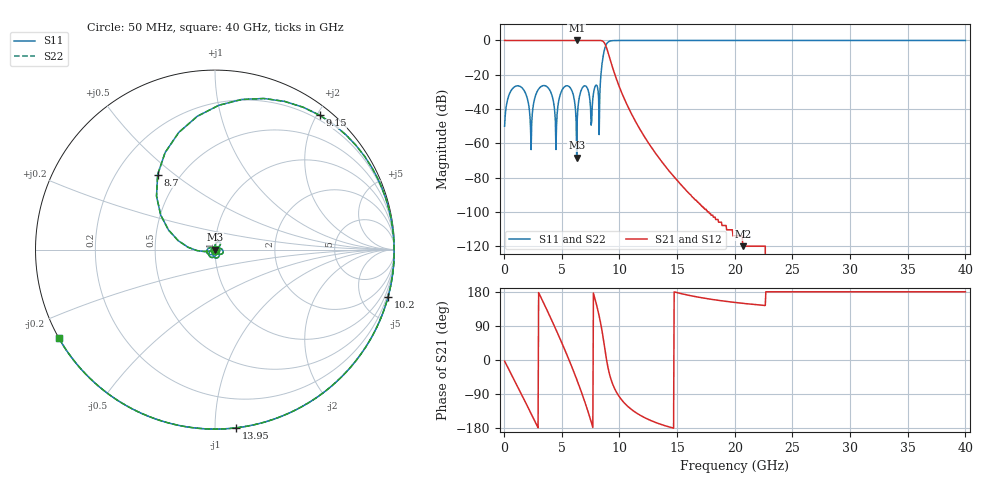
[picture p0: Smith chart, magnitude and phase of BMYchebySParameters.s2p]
# MHz MA S R 30.0
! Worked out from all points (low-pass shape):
!   800 points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, 50 MHz to 40 GHz, reference 30 ohm
!   highest |S21| = 0.00 dB at 6.3 GHz (marker M1); lowest = -120.0 dB at 20.7 GHz (marker M2)
!   |S21| within 3 dB of the highest: start of sweep to 8.816 GHz
!   lowest |S11| = -68.4 dB at 6.3 GHz (marker M3), VSWR 1.00, Z = 30 + j0.0143 ohm
!   |S11| at or under -10 dB: start of sweep to 8.574 GHz
!   |S22| runs from -68.4 to 0.0 dB; largest |S21 - S12| = 0
!   S11 on the Smith chart (normalised r, x): 50 MHz: 1.00, -0.01; 8.7 GHz: 0.38, +0.44; 9.15 GHz: 0.14, +2.04; 10.2 GHz: 0.01, -7.44; 13.95 GHz: -0.00, -1.12; 40 GHz: 0.00, -0.26
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50  0.003149 -93.0  1 -3.0  1 -3.0  0.003149 -93.0
600  0.03397 -125.9  0.9994 -35.9  0.9994 -35.9  0.03397 -125.9
1500  0.04336 -179.8  0.9991 -89.8  0.9991 -89.8  0.04336 -179.8
2350  0.000655 -51.7  1 -141.7  1 -141.7  0.000655 -51.7
2900  0.03382 -85.8  0.9994 -175.8  0.9994 -175.8  0.03382 -85.8
3850  0.04071 -146.4  0.9992 123.6  0.9992 123.6  0.04071 -146.4
4500  0.00066 170.4  1 80.4  1 80.4  0.00066 170.4
5450  0.0477 -76.1  0.9989 13.9  0.9989 13.9  0.0477 -76.1
6300  0.000379 39.1  1 -50.9  1 -50.9  0.000379 39.1
6750  0.03925 1.8  0.9992 -88.2  0.9992 -88.2  0.03925 1.8
7800  0.03458 81.0  0.9994 171.0  0.9994 171.0  0.03458 81.0
8350  0.05746 -168.8  0.9983 101.2  0.9983 101.2  0.05746 -168.8
8700  0.5261 127.4  0.8504 37.4  0.8504 37.4  0.5261 127.4
9150  0.949 52.1  0.3153 -37.9  0.3153 -37.9  0.949 52.1
10200  0.9995 -15.3  0.03008 -105.3  0.03008 -105.3  0.9995 -15.3
13400  1 -77.7  0.000386 -167.7  0.000386 -167.7  1 -77.7
13950  1 -83.3  0.000221 -173.3  0.000221 -173.3  1 -83.3
20050  1 -118.2  2e-06 151.8  2e-06 151.8  1 -118.2
20700  1 -120.4  1e-06 149.6  1e-06 149.6  1 -120.4
26700  1 -135.0  0 135.0  0 135.0  1 -135.0
33350  1 -144.4  0 125.6  0 125.6  1 -144.4
40000  1 -150.6  0 119.4  0 119.4  1 -150.6
